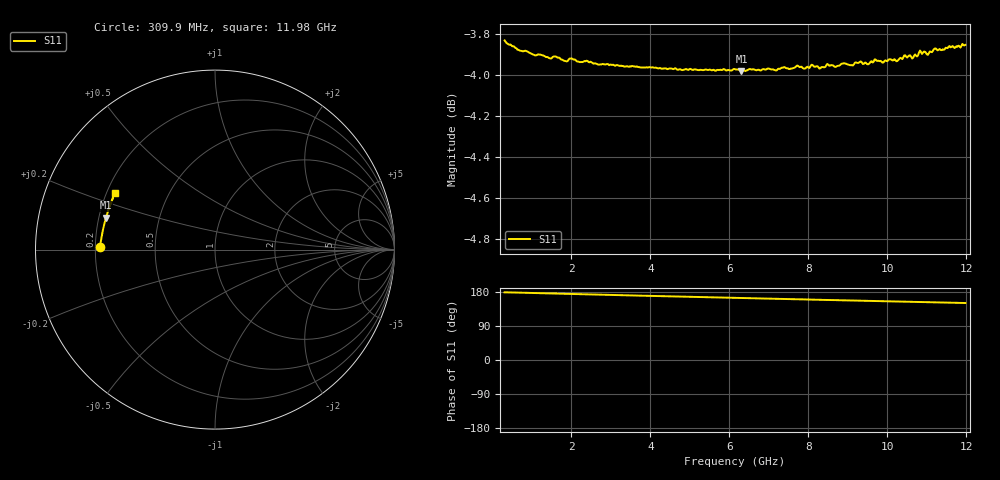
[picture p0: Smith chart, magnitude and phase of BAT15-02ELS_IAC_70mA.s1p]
! Infineon Technologies  Discrete & RF Semiconductors
! BAT15-02ELS
! IAC = 70 mA
! One-Port S-Parameters
# Hz  S  MA  R  50
!f  S11
!Hz  Mag  Ang
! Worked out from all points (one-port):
!   468 points, 309.9 MHz to 11.98 GHz, reference 50 ohm
!   lowest |S11| = -4.0 dB at 6.307 GHz (marker M1), VSWR 4.44, Z = 11.5 + j6.83 ohm
!   |S11| at or under -10 dB: nowhere
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3.0985e8  0.6432 178.7
6.846625e8  0.6396 177.7
1.784112e9  0.6362 174.8
2.009e9  0.6367 174.3
3.233388e9  0.6341 171.1
4.70765e9  0.6327 167.4
6.156925e9  0.6328 164.0
6.30685e9  0.6322 163.6
7.6062e9  0.6333 160.5
7.831088e9  0.6338 160.1
8.030988e9  0.6334 159.5
8.2059e9  0.634 159.2
8.4058e9  0.6336 158.6
8.6057e9  0.6344 158.2
8.8056e9  0.6344 157.7
8.930538e9  0.635 157.5
9.080462e9  0.6344 157.0
9.730138e9  0.6359 155.6
9.980012e9  0.6358 154.8
1.017991e10  0.6365 154.5
1.037981e10  0.6365 153.9
1.052974e10  0.6375 153.6
1.075462e10  0.6375 153.1
1.095452e10  0.6392 152.7
1.112944e10  0.639 152.2
1.127936e10  0.6396 152.0
1.147926e10  0.6406 151.4
1.197901e10  0.6416 150.4
